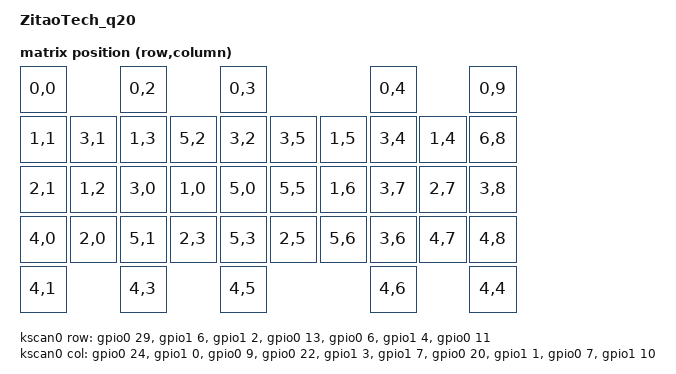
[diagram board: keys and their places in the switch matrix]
/*
 * ZitaoTech Q20 (nRF52840, wireless) ZMK board
 *
 * Migrated from the ZMK 3.5 / old-board-scheme tree (app/boards/arm/zitaotech_q20)
 * to the ZMK 0.4 hardware model + Zephyr 4.1:
 *   - board.yml / Kconfig.<board> / <board>_<soc>_<variant> naming,
 *   - zmk,backlight / zmk,layer_indicator / zmk,trackpad_led chosen nodes,
 *   - GPREGRET backed &bootloader (nrf52840_uf2_boot_mode.dtsi).
 *
 * Copyright (c) 2025 ZitaoTech
 *
 * SPDX-License-Identifier: MIT
 */

/dts-v1/;

#include <nordic/nrf52840_qiaa.dtsi>
/* UF2 bootloader support: gives &bootloader a GPREGRET backed boot mode. */
#include <common/nordic/nrf52840_uf2_boot_mode.dtsi>

#include <zephyr/dt-bindings/input/input-event-codes.h>
#include <zephyr/dt-bindings/pwm/pwm.h>
#include <zephyr/dt-bindings/i2c/i2c.h>
#include <dt-bindings/zmk/keys.h>
#include <dt-bindings/led/led.h>
#include <dt-bindings/zmk/matrix_transform.h>

/* Keymap layer used as the automatic mouse layer (see &bbtrackpad_listener). */
#define MOUSE_LAYER_ID 4

#include <behaviors/runtime_tap_dance.dtsi>
#define ZMK_BEHAVIORS_KEEP_DEFAULT_LAYER
#include <behaviors/default_layer.dtsi>
#include "zitaotech_q20-layouts.dtsi"

/ {
    model = "ZitaoTech_q20";
    compatible = "zitaotech,zitaotech-q20";

    chosen {
        zephyr,code-partition = &code_partition;
        zephyr,sram = &sram0;
        zephyr,flash = &flash0;
        zephyr,console = &cdc_acm_uart;
        zmk,battery = &vbatt;
        zmk,kscan = &kscan0;
        zmk,physical-layouts = &zitaotech_q20_layout;
        zmk,backlight = &backlight;
        zmk,layer_indicator = &layer_indicator;
        zmk,trackpad_led = &trackpad_led;
        zmk,studio-rpc-uart = &cdc_acm_uart; /* ZMK Studio over the console CDC ACM */
    };

    input_processors {
        /* Holds MOUSE_LAYER_ID while the trackpad reports movement. */
        zip_temp_layer: zip_temp_layer {
            compatible = "zmk,input-processor-temp-layer";
            #input-processor-cells = <2>;
        };
    };

    /*
     * Keyboard backlight: the two LED strings are driven by PWM0 (P1.13) and
     * PWM1 (P0.17).  Both are children of the backlight node so that ZMK's
     * backlight sets them together.
     */
    backlight: backlight {
        compatible = "pwm-leds";
        pwm_led_0 {
            pwms = <&pwm0 0 PWM_USEC(20) PWM_POLARITY_NORMAL>;
        };

    };

    /*
     * Layer indicator LED (PWM2 on P0.15): one LED that shows a different
     * effect for each active layer (custom_driver/layer_indicator.c, driven by
     * zmk-feature-zitaotech-backlight for the runtime selected effects).
     */
    layer_indicator: layer_indicator {
        compatible = "pwm-leds";
        pwm_led_0 {
            pwms = <&pwm2 0 PWM_USEC(20) PWM_POLARITY_NORMAL>;
        };
        pwm_led_1 {
            pwms = <&pwm1 0 PWM_MSEC(10) PWM_POLARITY_NORMAL>;
        };
    };

    /* Trackpad backlight LED (PWM3 on P0.10). */
    trackpad_led: trackpad_led {
        compatible = "pwm-leds";
        pwm_led_0 {
            pwms = <&pwm3 0 PWM_USEC(20) PWM_POLARITY_NORMAL>;
        };
    };

    default_transform: keymap_transform_0 {
        compatible = "zmk,matrix-transform";
        columns = <10>;
        rows = <7>;
        map = <
RC(0,0)          RC(0,2)             RC(0,3)             RC(0,4)          RC(0,9)
RC(1,1)  RC(3,1) RC(1,3) RC(5,2) RC(3,2) RC(3,5) RC(1,5) RC(3,4) RC(1,4)  RC(6,8)
RC(2,1)  RC(1,2) RC(3,0) RC(1,0) RC(5,0) RC(5,5) RC(1,6) RC(3,7) RC(2,7)  RC(3,8)
RC(4,0)  RC(2,0) RC(5,1) RC(2,3) RC(5,3) RC(2,5) RC(5,6) RC(3,6) RC(4,7)  RC(4,8)
RC(4,1)          RC(4,3)             RC(4,5)             RC(4,6)          RC(4,4)
        >;
    };

    kscan0: kscan {
        compatible = "zmk,kscan-gpio-matrix";
        diode-direction = "col2row";
        wakeup-source;
        row-gpios
            = <&gpio0 29 (GPIO_ACTIVE_HIGH | GPIO_PULL_DOWN)>
            , <&gpio1 6  (GPIO_ACTIVE_HIGH | GPIO_PULL_DOWN)>
            , <&gpio1 2 (GPIO_ACTIVE_HIGH | GPIO_PULL_DOWN)>
            , <&gpio0 13  (GPIO_ACTIVE_HIGH | GPIO_PULL_DOWN)>
            , <&gpio0 6  (GPIO_ACTIVE_HIGH | GPIO_PULL_DOWN)>
            , <&gpio1 4 (GPIO_ACTIVE_HIGH | GPIO_PULL_DOWN)>
            , <&gpio0 11 (GPIO_ACTIVE_HIGH | GPIO_PULL_DOWN)>
            ;
        col-gpios
            = <&gpio0 24  GPIO_ACTIVE_HIGH>
            , <&gpio1 0  GPIO_ACTIVE_HIGH>
            , <&gpio0 9  GPIO_ACTIVE_HIGH>
            , <&gpio0 22 GPIO_ACTIVE_HIGH>
            , <&gpio1 3 GPIO_ACTIVE_HIGH>
            , <&gpio1 7 GPIO_ACTIVE_HIGH>
            , <&gpio0 20 GPIO_ACTIVE_HIGH>
            , <&gpio1 1 GPIO_ACTIVE_HIGH>
            , <&gpio0 7 GPIO_ACTIVE_HIGH>
            , <&gpio1 10 GPIO_ACTIVE_HIGH>
            ;
    };


    /* Node name must match original "EXT_POWER" label to preserve user settings. */
    EXT_POWER {
        compatible = "zmk,ext-power-generic";
        control-gpios = <&gpio1 15 GPIO_ACTIVE_LOW>;
    };

    vbatt: vbatt {
        compatible = "zmk,battery-voltage-divider";
        io-channels = <&adc 2>;
        output-ohms = <2000000>;
        full-ohms = <2820000>;  // 2000000 + 820000
    };
};

&adc {
    status = "okay";
};

/*
 * Use the SoC's DC/DC converter.  Zephyr 4.x configures this through
 * devicetree; the old CONFIG_SOC_DCDC_NRF52X Kconfig symbol is deprecated.
 */
&reg1 {
    regulator-initial-mode = <NRF5X_REG_MODE_DCDC>;
};

&gpiote {
    status = "okay";
};

&gpio0 {
    status = "okay";
};

&gpio1 {
    status = "okay";
};

&pwm0 {
    status = "okay";
    pinctrl-0 = <&pwm0_default>;
    pinctrl-1 = <&pwm0_sleep>;
    pinctrl-names = "default", "sleep";
};

&pwm1 {
    status = "okay";
    pinctrl-0 = <&pwm1_default>;
    pinctrl-1 = <&pwm1_sleep>;
    pinctrl-names = "default", "sleep";
};

&pwm2 {
    status = "okay";
    pinctrl-0 = <&pwm2_default>;
    pinctrl-1 = <&pwm2_sleep>;
    pinctrl-names = "default", "sleep";
};

&pwm3 {
    status = "okay";
    pinctrl-0 = <&pwm3_default>;
    pinctrl-1 = <&pwm3_sleep>;
    pinctrl-names = "default", "sleep";
};

&usbd {
    status = "okay";
    cdc_acm_uart: cdc_acm_uart {
        compatible = "zephyr,cdc-acm-uart";
    };
};

&zitaotech_q20_layout {
    transform = <&default_transform>;
    kscan = <&kscan0>;
};

zephyr_udc0: &usbd {
    compatible = "nordic,nrf-usbd";
    status = "okay";
};

&i2c0 {
    status = "okay";
    compatible = "nordic,nrf-twim";
    clock-frequency = <I2C_BITRATE_FAST>;
    pinctrl-0 = <&i2c0_default>;
    pinctrl-1 = <&i2c0_sleep>;
    pinctrl-names = "default", "sleep";

    bbtrackpad: a320@3b {
        compatible = "avago,a320";
        reg = <0x3b>;
        status = "okay";
    };
};

/ {
    bbtrackpad_listener: bbtrackpad_listener {
        compatible = "zmk,input-listener";
        status = "disabled";
        device = <&bbtrackpad>;
    };
};

&bbtrackpad_listener {
    status = "okay";
    /*
     * Automatic mouse layer: while the trackpad reports movement this holds
     * MOUSE_LAYER_ID active, and drops it again once no movement has arrived
     * for the timeout.  The timeout here is only the devicetree default -
     * zmk-feature-zitaotech-trackpad overrides both the timeout (Q20 ships
     * with 800 ms) and whether the layer may come up at all, so ZitaoTech
     * Studio can switch the feature off and change the time.
     */
    input-processors = <&zip_temp_layer MOUSE_LAYER_ID 800>;
};

&pinctrl {
    i2c0_default: i2c0_default {
        group1 {
            psels = <NRF_PSEL(TWIM_SDA, 0, 23)>,
                <NRF_PSEL(TWIM_SCL, 0, 25)>;
        };
    };

    i2c0_sleep: i2c0_sleep {
        group1 {
            psels = <NRF_PSEL(TWIM_SDA, 0, 23)>,
                <NRF_PSEL(TWIM_SCL, 0, 25)>;
            low-power-enable;
        };
    };

    pwm0_default: pwm0_default {
        group1 {
            psels = <NRF_PSEL(PWM_OUT0, 1, 13)>;      // keyboard backlight
        };
    };

    pwm0_sleep: pwm0_sleep {
        group1 {
            psels = <NRF_PSEL(PWM_OUT0, 1, 13)>;      // keyboard backlight
            bias-pull-down;
        };
    };

    pwm1_default: pwm1_default {
        group1 {
            psels = <NRF_PSEL(PWM_OUT0, 0, 17)>;      // backlight for layer/Set2
        };
    };

    pwm1_sleep: pwm1_sleep {
        group1 {
            psels = <NRF_PSEL(PWM_OUT0, 0, 17)>;      // backlight for layer/Set2
            bias-pull-down;
        };
    };

    pwm2_default: pwm2_default {
        group1 {
            psels = <NRF_PSEL(PWM_OUT0, 0, 15)>;      // backlight for layer
        };
    };

    pwm2_sleep: pwm2_sleep {
        group1 {
            psels = <NRF_PSEL(PWM_OUT0, 0, 15)>;      // backlight for layer
            bias-pull-down;
        };
    };

    pwm3_default: pwm3_default {
        group1 {
            psels = <NRF_PSEL(PWM_OUT0, 0, 10)>;      // backlight for trackpad
        };
    };

    pwm3_sleep: pwm3_sleep {
        group1 {
            psels = <NRF_PSEL(PWM_OUT0, 0, 10)>;      // backlight for trackpad
            bias-pull-down;
        };
    };
};

&flash0 {
    /*
     * For more information, see:
     * http://docs.zephyrproject.org/latest/devices/dts/flash_partitions.html
     */
    partitions {
        compatible = "fixed-partitions";
        #address-cells = <1>;
        #size-cells = <1>;

        sd_partition: partition@0 {
            reg = <0x00000000 0x00001000>;
        };

        code_partition: partition@1000 {
            reg = <0x00001000 0x000d3000>;
        };

        /*
         * Storage partition will be used by FCB/LittleFS/NVS
         * if enabled.
         */
        storage_partition: partition@d4000 {
            reg = <0x000d4000 0x00020000>;
        };

        boot_partition: partition@f4000 {
            reg = <0x000f4000 0x0000c000>;
        };
    };
};
